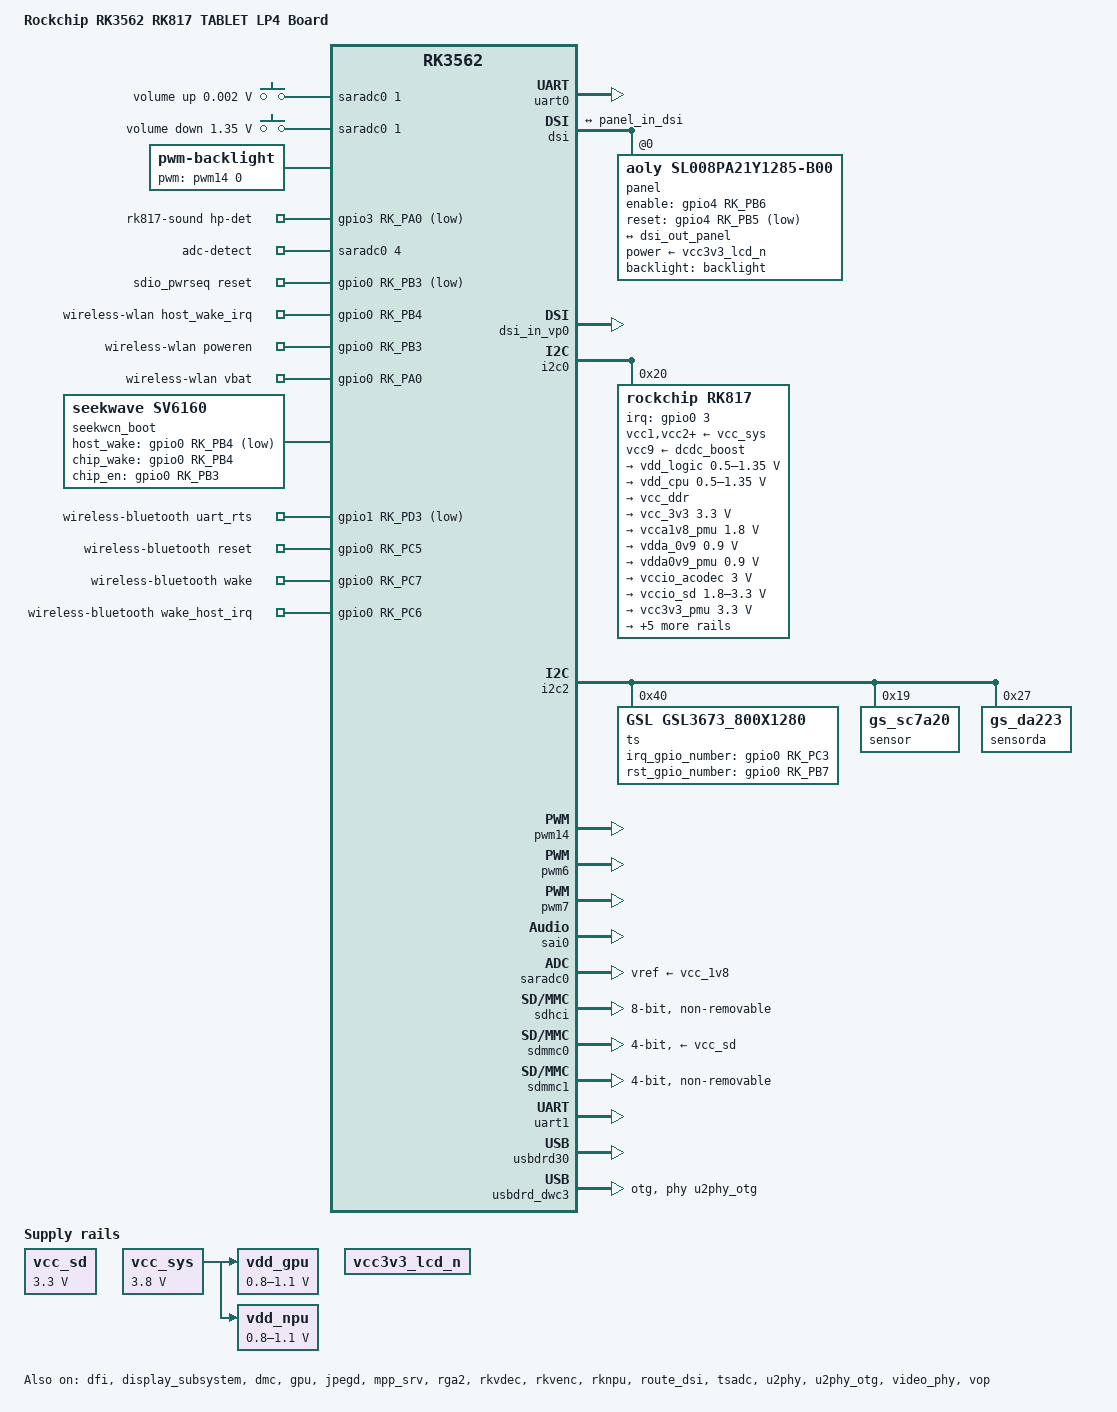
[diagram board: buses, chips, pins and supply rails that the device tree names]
// SPDX-License-Identifier: (GPL-2.0+ OR MIT)
/*
 * Copyright (c) 2022 Rockchip Electronics Co., Ltd.
 *
 */

/dts-v1/;

#include <dt-bindings/gpio/gpio.h>
#include <dt-bindings/pinctrl/rockchip.h>
#include <dt-bindings/input/rk-input.h>
#include <dt-bindings/sensor-dev.h>
#include <dt-bindings/display/drm_mipi_dsi.h>
#include "dt-bindings/usb/pd.h"
#include "rk3562.dtsi"
#include "rk3562-android.dtsi"
#include "rk3562-rk817-tablet-camera.dtsi"

/ {
	model = "Rockchip RK3562 RK817 TABLET LP4 Board";
	compatible = "rockchip,rk3562-rk817-tablet", "rockchip,rk3562";
	chassis-type = "tablet";

	adc_keys: adc-keys {
		compatible = "adc-keys";
		io-channels = <&saradc0 1>;
		io-channel-names = "buttons";
		keyup-threshold-microvolt = <1800000>;
		poll-interval = <100>;

		vol-up-key {
			label = "volume up";
			linux,code = <KEY_VOLUMEUP>;
			press-threshold-microvolt = <1750>;
		};

		vol-down-key {
			label = "volume down";
			linux,code = <KEY_VOLUMEDOWN>;
			/* Match Android DTB: this board's VOL- ladder sits near ~1.35V. */
			press-threshold-microvolt = <1350000>;
		};
	};

	backlight: backlight {
		compatible = "pwm-backlight";
		pwms = <&pwm14 0 25000 0>;
		brightness-levels = <
			  0  20  20  21  21  22  22  23
			 23  24  24  25  25  26  26  27
			 27  28  28  29  29  30  30  31
			 31  32  32  33  33  34  34  35
			 35  36  36  37  37  38  38  39
			 40  41  42  43  44  45  46  47
			 48  49  50  50  51  52  53  54
			 55  55  56  57  58  59  60  61
			 62  63  64  64  65  65  66  67
			 68  69  70  71  71  72  73  74
			 75  76  77  78  79  79  80  81
			 82  83  84  85  86  86  87  88
			 89  90  91  92  93  94  94  95
			 96  97  98  99 100 101 101 102
			103 104 105 106 107 107 108 109
			110 111 112 113 114 115 115 116
			117 118 119 120 121 122 123 123
			124 125 126 127 128 129 130 130
			131 132 133 134 135 136 136 137
			138 139 140 141 142 143 143 144
			145 146 147 147 148 149 150 151
			152 153 154 155 156 156 157 158
			159 157 158 159 160 161 162 162
			163 164 165 166 167 168 169 169
			170 171 172 173 174 175 175 176
			177 178 179 180 181 182 182 183
			184 185 186 187 188 189 190 190
			191 192 193 194 195 196 197 197
			198 199 200 201 202 203 204 204
			205 206 207 208 209 209 210 211
			212 213 213 214 214 215 215 216
			216 217 217 218 218 219 219 220
		>;
		default-brightness-level = <120>;
	};

	charge-animation {
		compatible = "rockchip,uboot-charge";
		rockchip,uboot-charge-on = <1>;
		rockchip,android-charge-on = <0>;
		rockchip,uboot-low-power-voltage = <3350>;
		rockchip,screen-on-voltage = <3400>;
		status = "okay";
	};

	rk817-sound {
		compatible = "rockchip,multicodecs-card";
		rockchip,card-name = "rockchip-rk817";
		hp-det-gpio = <&gpio3 RK_PA0 GPIO_ACTIVE_LOW>;
		io-channels = <&saradc0 4>;
		io-channel-names = "adc-detect";
		keyup-threshold-microvolt = <1800000>;
		poll-interval = <100>;
		rockchip,format = "i2s";
		rockchip,mclk-fs = <256>;
		rockchip,cpu = <&sai0>;
		rockchip,codec = <&rk817_codec>;
		pinctrl-names = "default";
		pinctrl-0 = <&hp_det>;
		play-pause-key {
			label = "playpause";
			linux,code = <KEY_PLAYPAUSE>;
			press-threshold-microvolt = <2000>;
		};
	};

	sdio_pwrseq: sdio-pwrseq {
		compatible = "mmc-pwrseq-simple";
		clocks = <&rk817 1>;
		clock-names = "ext_clock";
		pinctrl-names = "default";
		pinctrl-0 = <&wifi_enable_h>;

		/*
		 * On the module itself this is one of these (depending
		 * on the actual card populated):
		 * - SDIO_RESET_L_WL_REG_ON
		 * - PDN (power down when low)
		 */
		post-power-on-delay-ms = <200>;
		reset-gpios = <&gpio0 RK_PB3 GPIO_ACTIVE_LOW>;
	};

	vcc_sd: vcc-sd {
		compatible = "regulator-gpio";
		enable-active-low;
		regulator-boot-on;
		gpios = <&gpio0 RK_PA5 GPIO_ACTIVE_LOW>;
		regulator-min-microvolt = <3300000>;
		regulator-max-microvolt = <3300000>;
		pinctrl-names = "default";
		pinctrl-0 = <&vcc_sd_h>;
		regulator-name = "vcc_sd";
		states = <0 0x0
			  3300000 0x1>;
	};

	vcc_sys: vcc-sys {
		compatible = "regulator-fixed";
		regulator-name = "vcc_sys";
		regulator-always-on;
		regulator-boot-on;
		regulator-min-microvolt = <3800000>;
		regulator-max-microvolt = <3800000>;
	};

	vcc3v3_lcd_n: vcc3v3-lcd0-n {
		compatible = "regulator-fixed";
		regulator-name = "vcc3v3_lcd_n";
		regulator-always-on;
		regulator-boot-on;
		regulator-state-mem {
			regulator-off-in-suspend;
		};
	};

	vdd_gpu: vdd-gpu {
		compatible = "pwm-regulator";
		pwms = <&pwm7 0 5000 1>;
		regulator-name = "vdd_gpu";
		regulator-min-microvolt = <800000>;
		regulator-max-microvolt = <1100000>;
		regulator-init-microvolt = <900000>;
		/* removed regulator-always-on: Mali driver enables on demand */
		regulator-boot-on;
		regulator-settling-time-up-us = <250>;
		pwm-supply = <&vcc_sys>;
		status = "okay";
	};

	vdd_npu: vdd-npu {
		compatible = "pwm-regulator";
		pwms = <&pwm6 0 5000 1>;
		regulator-name = "vdd_npu";
		regulator-min-microvolt = <800000>;
		regulator-max-microvolt = <1100000>;
		regulator-init-microvolt = <900000>;
		/* removed regulator-always-on + regulator-boot-on: NPU unused in Debian */
		regulator-settling-time-up-us = <250>;
		pwm-supply = <&vcc_sys>;
		status = "okay";
	};

	wireless-wlan {
		compatible = "wlan-platdata";
		rockchip,grf = <&sys_grf>;
		wifi_chip_type = "sv6160";
		pinctrl-names = "default";
		pinctrl-0 = <&wifi_host_wake_irq>;
		WIFI,host_wake_irq = <&gpio0 RK_PB4 GPIO_ACTIVE_HIGH>;
		WIFI,poweren_gpio = <&gpio0 RK_PB3 GPIO_ACTIVE_HIGH>;
		WIFI,vbat_gpio = <&gpio0 RK_PA0 GPIO_ACTIVE_HIGH>;
		status = "okay";
	};

	seekwcn_boot: seekwcn_boot {
		compatible = "seekwave,sv6160";
		dma_type = <1>;
		status = "okay";
		gpio_host_wake = <&gpio0 RK_PB4 GPIO_ACTIVE_LOW>;
		gpio_chip_wake = <&gpio0 RK_PB4 GPIO_ACTIVE_HIGH>;
		gpio_chip_en = <&gpio0 RK_PB3 GPIO_ACTIVE_HIGH>;
	};

	wireless-bluetooth {
		compatible = "bluetooth-platdata";
		clocks = <&rk817 1>;
		clock-names = "ext_clock";
		//wifi-bt-power-toggle;
		uart_rts_gpios = <&gpio1 RK_PD3 GPIO_ACTIVE_LOW>;
		pinctrl-names = "default", "rts_gpio";
		pinctrl-0 = <&uart1m0_rtsn>;
		pinctrl-1 = <&uart1_gpios>;
		BT,reset_gpio    = <&gpio0 RK_PC5 GPIO_ACTIVE_HIGH>;
		BT,wake_gpio     = <&gpio0 RK_PC7 GPIO_ACTIVE_HIGH>;
		BT,wake_host_irq = <&gpio0 RK_PC6 GPIO_ACTIVE_HIGH>;
		status = "okay";
	};
};

&uart0 {
	status = "okay";
	pinctrl-names = "default";
	pinctrl-0 = <&uart0m0_xfer>;
};

&cpu0 {
	cpu-supply = <&vdd_cpu>;
};

&dfi {
	status = "okay";
};

&display_subsystem {
	status = "okay";
};

&dmc {
	center-supply = <&vdd_logic>;
	status = "okay";
};

&dsi {
	status = "okay";

	ports {
		#address-cells = <1>;
		#size-cells = <0>;

		port@1 {
			reg = <1>;
			dsi_out_panel: endpoint {
				remote-endpoint = <&panel_in_dsi>;
			};
		};
	};

	panel@0 {
		compatible = "aoly,sl008pa21y1285-b00", "simple-panel-dsi";
		reg = <0>;

		backlight = <&backlight>;
		enable-gpios = <&gpio4 RK_PB6 GPIO_ACTIVE_HIGH>;
		reset-gpios = <&gpio4 RK_PB5 GPIO_ACTIVE_LOW>;
		pinctrl-names = "default";
		pinctrl-0 = <&lcd_enable_gpio &lcd_rst_gpio>;
		power-supply = <&vcc3v3_lcd_n>;

		prepare-delay-ms = <20>;
		reset-delay-ms = <20>;
		init-delay-ms = <20>;
		enable-delay-ms = <120>;
		disable-delay-ms = <20>;
		unprepare-delay-ms = <20>;

		compatible-lcd = <1>;
		lcd1-id = <0x6593>;

		width-mm = <135>;
		height-mm = <216>;
		/*
		 * Keep early boot/KMS in landscape for this tablet panel orientation
		 * (matching the camera-top side used by userspace).
		 */
		rotation = <90>;

		bpc = <8>;
		bus-format = <0x100a>; /* MEDIA_BUS_FMT_RGB888_1X24 — avoids vop3_output_rb_swap which incorrectly applies DSP_RB_SWAP on RK3562 (VOP2 not VOP3) */

		/* MIPI_DSI_MODE_EOT_PACKET is not defined in 6.1 dt-bindings;
		 * EOT is the default behavior when NO_EOT is not set. */
		dsi,flags = <(MIPI_DSI_MODE_VIDEO | MIPI_DSI_MODE_VIDEO_BURST |
			      MIPI_DSI_CLOCK_NON_CONTINUOUS |
			      MIPI_DSI_MODE_LPM)>;
		dsi,format = <MIPI_DSI_FMT_RGB888>;
		dsi,lanes = <4>;

					panel-init-sequence = [15 00 02 e0 00 15 00 02 e1 93 15 00 02 e2 65 15 00 02 e3 f8 15 00 02 80 03 15 00 02 e0 01 15 00 02 00 00 15 00 02 01 3b 15 00 02 0c 74 15 00 02 17 00 15 00 02 18 af 15 00 02 19 00 15 00 02 1a 00 15 00 02 1b af 15 00 02 1c 00 15 00 02 35 26 15 00 02 37 09 15 00 02 38 04 15 00 02 39 00 15 00 02 3a 01 15 00 02 3c 78 15 00 02 3d ff 15 00 02 3e ff 15 00 02 3f 7f 15 00 02 40 06 15 00 02 41 a0 15 00 02 42 81 15 00 02 43 14 15 00 02 44 23 15 00 02 45 28 15 00 02 55 02 15 00 02 57 69 15 00 02 59 0a 15 00 02 5a 2a 15 00 02 5b 17 15 00 02 5d 7f 15 00 02 5e 6b 15 00 02 5f 5c 15 00 02 60 4f 15 00 02 61 4d 15 00 02 62 3f 15 00 02 63 42 15 00 02 64 2b 15 00 02 65 44 15 00 02 66 43 15 00 02 67 43 15 00 02 68 63 15 00 02 69 52 15 00 02 6a 5a 15 00 02 6b 4f 15 00 02 6c 4e 15 00 02 6d 20 15 00 02 6e 0f 15 00 02 6f 00 15 00 02 70 7f 15 00 02 71 6b 15 00 02 72 5c 15 00 02 73 4f 15 00 02 74 4d 15 00 02 75 3f 15 00 02 76 42 15 00 02 77 2b 15 00 02 78 44 15 00 02 79 43 15 00 02 7a 43 15 00 02 7b 63 15 00 02 7c 52 15 00 02 7d 5a 15 00 02 7e 4f 15 00 02 7f 4e 15 00 02 80 20 15 00 02 81 0f 15 00 02 82 00 15 00 02 e0 02 15 00 02 00 02 15 00 02 01 02 15 00 02 02 00 15 00 02 03 00 15 00 02 04 1e 15 00 02 05 1e 15 00 02 06 1f 15 00 02 07 1f 15 00 02 08 1f 15 00 02 09 17 15 00 02 0a 17 15 00 02 0b 37 15 00 02 0c 37 15 00 02 0d 47 15 00 02 0e 47 15 00 02 0f 45 15 00 02 10 45 15 00 02 11 4b 15 00 02 12 4b 15 00 02 13 49 15 00 02 14 49 15 00 02 15 1f 15 00 02 16 01 15 00 02 17 01 15 00 02 18 00 15 00 02 19 00 15 00 02 1a 1e 15 00 02 1b 1e 15 00 02 1c 1f 15 00 02 1d 1f 15 00 02 1e 1f 15 00 02 1f 17 15 00 02 20 17 15 00 02 21 37 15 00 02 22 37 15 00 02 23 46 15 00 02 24 46 15 00 02 25 44 15 00 02 26 44 15 00 02 27 4a 15 00 02 28 4a 15 00 02 29 48 15 00 02 2a 48 15 00 02 2b 1f 15 00 02 2c 01 15 00 02 2d 01 15 00 02 2e 00 15 00 02 2f 00 15 00 02 30 1f 15 00 02 31 1f 15 00 02 32 1e 15 00 02 33 1e 15 00 02 34 1f 15 00 02 35 17 15 00 02 36 17 15 00 02 37 37 15 00 02 38 37 15 00 02 39 08 15 00 02 3a 08 15 00 02 3b 0a 15 00 02 3c 0a 15 00 02 3d 04 15 00 02 3e 04 15 00 02 3f 06 15 00 02 40 06 15 00 02 41 1f 15 00 02 42 02 15 00 02 43 02 15 00 02 44 00 15 00 02 45 00 15 00 02 46 1f 15 00 02 47 1f 15 00 02 48 1e 15 00 02 49 1e 15 00 02 4a 1f 15 00 02 4b 17 15 00 02 4c 17 15 00 02 4d 37 15 00 02 4e 37 15 00 02 4f 09 15 00 02 50 09 15 00 02 51 0b 15 00 02 52 0b 15 00 02 53 05 15 00 02 54 05 15 00 02 55 07 15 00 02 56 07 15 00 02 57 1f 15 00 02 58 40 15 00 02 5b 30 15 00 02 5c 16 15 00 02 5d 34 15 00 02 5e 05 15 00 02 5f 02 15 00 02 63 00 15 00 02 64 6a 15 00 02 67 73 15 00 02 68 1d 15 00 02 69 08 15 00 02 6a 6a 15 00 02 6b 08 15 00 02 6c 00 15 00 02 6d 00 15 00 02 6e 00 15 00 02 6f 88 15 00 02 75 ff 15 00 02 77 dd 15 00 02 78 3f 15 00 02 79 15 15 00 02 7a 17 15 00 02 7d 14 15 00 02 7e 82 15 00 02 e0 04 15 00 02 00 0e 15 00 02 02 b3 15 00 02 09 61 15 00 02 0e 48 15 00 02 e0 00 15 00 02 e6 02 15 00 02 e7 0c 05 78 01 11 05 64 01 29];

		panel-exit-sequence = [
			05 01 01 28
			05 03 01 10
		];

		display-timings {
			native-mode = <&timing0>;

			timing0: timing0 {
				clock-frequency = <70000000>;
				hactive = <800>;
				vactive = <1280>;

				hfront-porch = <40>;
				hsync-len = <20>;
				hback-porch = <20>;

				vfront-porch = <20>;
				vsync-len = <4>;
				vback-porch = <20>;

				hsync-active = <0>;
				vsync-active = <0>;
				de-active = <0>;
				pixelclk-active = <1>;
			};
		};

		ports {
			#address-cells = <1>;
			#size-cells = <0>;

			port@0 {
				reg = <0>;
				panel_in_dsi: endpoint {
					remote-endpoint = <&dsi_out_panel>;
				};
			};
		};
	};

};

&dsi_in_vp0 {
	status = "okay";
};

&gpu {
	mali-supply = <&vdd_gpu>;
	/*
	 * Panfrost expects IRQ names "job", "mmu", "gpu".  On this board the
	 * physical IRQ lines are wired as:
	 *   GPU(reset/completion)=SPI75, MMU=SPI77, JOB=SPI76
	 * so for Panfrost we must map:
	 *   job->SPI76, mmu->SPI77, gpu->SPI75
	 */
	interrupts = <GIC_SPI 76 IRQ_TYPE_LEVEL_HIGH>,
		     <GIC_SPI 77 IRQ_TYPE_LEVEL_HIGH>,
		     <GIC_SPI 75 IRQ_TYPE_LEVEL_HIGH>;
	/* Panfrost looks up IRQs by lowercase names ("job", "mmu", "gpu"). */
	interrupt-names = "job", "mmu", "gpu";
	/*
	 * The stock rk3562.dtsi GPU OPP table relies on nvmem-backed supported-hw
	 * selection. On this tablet that resolves to zero valid OPPs, so Panfrost
	 * aborts probe with "no supported OPPs". Use a simple board-local table
	 * instead so devfreq has valid operating points.
	 */
	operating-points-v2 = <&gpu_opp_table_panfrost>;
	status = "okay";
};

/ {
	gpu_opp_table_panfrost: gpu-opp-table-panfrost {
		compatible = "operating-points-v2";

		opp-300000000 {
			opp-hz = /bits/ 64 <300000000>;
			opp-microvolt = <825000>;
		};
		opp-400000000 {
			opp-hz = /bits/ 64 <400000000>;
			opp-microvolt = <825000>;
		};
		opp-500000000 {
			opp-hz = /bits/ 64 <500000000>;
			opp-microvolt = <825000>;
		};
		opp-600000000 {
			opp-hz = /bits/ 64 <600000000>;
			opp-microvolt = <825000>;
		};
		opp-700000000 {
			opp-hz = /bits/ 64 <700000000>;
			opp-microvolt = <900000>;
		};
	};
};

&i2c0 {
	status = "okay";

	rk817: pmic@20 {
		compatible = "rockchip,rk817";
		reg = <0x20>;
		interrupt-parent = <&gpio0>;
		interrupts = <3 IRQ_TYPE_LEVEL_LOW>;

		pinctrl-names = "default", "pmic-sleep",
			"pmic-power-off", "pmic-reset";
		pinctrl-0 = <&pmic_int>;
		pinctrl-1 = <&soc_slppin_slp>, <&rk817_slppin_slp>;
		pinctrl-2 = <&soc_slppin_gpio>, <&rk817_slppin_pwrdn>;
		pinctrl-3 = <&soc_slppin_gpio>, <&rk817_slppin_rst>;
		rockchip,system-power-controller;
		wakeup-source;
		#clock-cells = <1>;
		clock-output-names = "rk808-clkout1", "rk808-clkout2";
		/* 0: default, rst the pmic itself; 1: rst regs only */
		pmic-reset-func = <0>;
		vcc1-supply = <&vcc_sys>;
		vcc2-supply = <&vcc_sys>;
		vcc3-supply = <&vcc_sys>;
		vcc4-supply = <&vcc_sys>;
		vcc5-supply = <&vcc_sys>;
		vcc6-supply = <&vcc_sys>;
		vcc7-supply = <&vcc_sys>;
		vcc8-supply = <&vcc_sys>;
		vcc9-supply = <&dcdc_boost>;
		pwrkey {
			status = "okay";
		};

		pinctrl_rk8xx: pinctrl_rk8xx {
			gpio-controller;
			#gpio-cells = <2>;

			rk817_slppin_null: rk817_slppin_null {
				pins = "gpio_slp";
				function = "pin_fun0";
			};

			rk817_slppin_slp: rk817_slppin_slp {
				pins = "gpio_slp";
				function = "pin_fun1";
			};

			rk817_slppin_pwrdn: rk817_slppin_pwrdn {
				pins = "gpio_slp";
				function = "pin_fun2";
			};

			rk817_slppin_rst: rk817_slppin_rst {
				pins = "gpio_slp";
				function = "pin_fun3";
			};
		};

		regulators {
			vdd_logic: DCDC_REG1 {
				regulator-always-on;
				regulator-boot-on;
				regulator-min-microvolt = <500000>;
				regulator-max-microvolt = <1350000>;
				regulator-init-microvolt = <950000>;
				regulator-ramp-delay = <6001>;
				regulator-initial-mode = <0x2>;
				regulator-name = "vdd_logic";
				regulator-state-mem {
					regulator-off-in-suspend;
					regulator-suspend-microvolt = <900000>;
				};
			};

			vdd_cpu: DCDC_REG2 {
				regulator-always-on;
				regulator-boot-on;
				regulator-min-microvolt = <500000>;
				regulator-max-microvolt = <1350000>;
				regulator-init-microvolt = <1050000>;
				regulator-ramp-delay = <6001>;
				regulator-initial-mode = <0x2>;
				regulator-name = "vdd_cpu";
				regulator-state-mem {
					regulator-off-in-suspend;
				};
			};

			vcc_ddr: DCDC_REG3 {
				regulator-always-on;
				regulator-boot-on;
				regulator-initial-mode = <0x2>;
				regulator-name = "vcc_ddr";
				regulator-state-mem {
					regulator-on-in-suspend;
				};
			};

			vcc_3v3: DCDC_REG4 {
				regulator-always-on;
				regulator-boot-on;
				regulator-min-microvolt = <3300000>;
				regulator-max-microvolt = <3300000>;
				regulator-initial-mode = <0x2>;
				regulator-name = "vcc_3v3";
				regulator-state-mem {
					regulator-on-in-suspend;
					regulator-suspend-microvolt = <3300000>;
				};
			};

			vcca1v8_pmu: LDO_REG1 {
				regulator-always-on;
				regulator-boot-on;
				regulator-min-microvolt = <1800000>;
				regulator-max-microvolt = <1800000>;
				regulator-name = "vcca1v8_pmu";
				regulator-state-mem {
					regulator-on-in-suspend;
					regulator-suspend-microvolt = <1800000>;
				};
			};

			vdda_0v9: LDO_REG2 {
				regulator-always-on;
				regulator-boot-on;
				regulator-min-microvolt = <900000>;
				regulator-max-microvolt = <900000>;
				regulator-name = "vdda_0v9";
				regulator-state-mem {
					regulator-off-in-suspend;
				};
			};

			vdda0v9_pmu: LDO_REG3 {
				regulator-always-on;
				regulator-boot-on;
				regulator-min-microvolt = <900000>;
				regulator-max-microvolt = <900000>;
				regulator-name = "vdda0v9_pmu";
				regulator-state-mem {
					regulator-on-in-suspend;
					regulator-suspend-microvolt = <900000>;
				};
			};

			vccio_acodec: LDO_REG4 {
				regulator-always-on;
				regulator-boot-on;
				regulator-min-microvolt = <3000000>;
				regulator-max-microvolt = <3000000>;
				regulator-name = "vccio_acodec";
				regulator-state-mem {
					regulator-off-in-suspend;
				};
			};

			vccio_sd: LDO_REG5 {
				regulator-always-on;
				regulator-boot-on;
				regulator-min-microvolt = <1800000>;
				regulator-max-microvolt = <3300000>;
				regulator-name = "vccio_sd";
				regulator-state-mem {
					regulator-off-in-suspend;
				};
			};

			vcc3v3_pmu: LDO_REG6 {
				regulator-always-on;
				regulator-boot-on;
				regulator-min-microvolt = <3300000>;
				regulator-max-microvolt = <3300000>;
				regulator-name = "vcc3v3_pmu";
				regulator-state-mem {
					regulator-on-in-suspend;
					regulator-suspend-microvolt = <3000000>;
				};
			};

			vcc_1v8: LDO_REG7 {
				regulator-always-on;
				regulator-boot-on;
				regulator-min-microvolt = <1800000>;
				regulator-max-microvolt = <1800000>;
				regulator-name = "vcc_1v8";
				regulator-state-mem {
					regulator-off-in-suspend;
				};
			};

			vcc1v8_dvp: LDO_REG8 {
				regulator-always-on;
				regulator-boot-on;
				regulator-min-microvolt = <1800000>;
				regulator-max-microvolt = <1800000>;
				regulator-name = "vcc1v8_dvp";
				regulator-state-mem {
					regulator-off-in-suspend;
				};
			};

			vcc1v2_dvp: LDO_REG9 {
				regulator-always-on;
				regulator-boot-on;
				regulator-min-microvolt = <1200000>;
				regulator-max-microvolt = <1200000>;
				regulator-name = "vcc1v2_dvp";
				regulator-state-mem {
					regulator-off-in-suspend;
				};
			};

			dcdc_boost: BOOST {
				regulator-always-on;
				regulator-boot-on;
				regulator-min-microvolt = <5000000>;
				regulator-max-microvolt = <5400000>;
				regulator-name = "boost";
				regulator-state-mem {
					regulator-off-in-suspend;
				};
			};

			otg_switch: OTG_SWITCH {
				regulator-name = "otg_switch";
				regulator-state-mem {
					regulator-off-in-suspend;
				};
			};
		};

		battery {
			compatible = "rk817,battery";
			ocv_table = <3400 3656 3689 3717 3742 3760 3773
				     3785 3800 3817 3838 3872 3917 3956
				     3987 4041 4086 4135 4187 4242 4308>;
			ntc_degree_from = <1 21>;
			design_capacity = <4510>;
			design_qmax = <4900>;
			bat_res = <120>;
			sleep_enter_current = <150>;
			sleep_exit_current = <180>;
			sleep_filter_current = <100>;
			power_off_thresd = <3450>;
			zero_algorithm_vol = <3400>;
			max_soc_offset = <60>;
			monitor_sec = <5>;
			sample_res = <10>;
			virtual_power = <0>;
		};

		charger {
			compatible = "rk817,charger";
			status = "okay";
			min_input_voltage = <4500>;
			max_input_current = <1750>;
			max_chrg_current = <2000>;
			max_chrg_voltage = <4350>;
			chrg_term_mode = <0>;
			chrg_finish_cur = <100>;
			virtual_power = <0>;
			dc_det_adc = <0>;
			power_dc2otg = <0>;
			sample_res = <10>;
			otg5v_suspend_enable = <0>;
			extcon = <&u2phy>;
			gate_function_disable = <1>;
		};

		rk817_codec: codec {
			#sound-dai-cells = <0>;
			compatible = "rockchip,rk817-codec";
			clocks = <&mclkout_sai0>;
			clock-names = "mclk";
			assigned-clocks = <&mclkout_sai0>;
			assigned-clock-rates = <12288000>;
			pinctrl-names = "default";
			pinctrl-0 = <&i2s0m0_mclk>;
			hp-volume = <20>;
			spk-volume = <25>;
			use-ext-amplifier;
			spk-ctl-gpios = <&gpio4 RK_PB7 GPIO_ACTIVE_HIGH>;
			status = "okay";
		};
	};
};

&i2c2 {
	status = "okay";

	ts@40 {
		compatible = "GSL,GSL3673_800X1280";
		reg = <0x40>;
		irq_gpio_number = <&gpio0 RK_PC3 GPIO_ACTIVE_HIGH>;
		rst_gpio_number = <&gpio0 RK_PB7 GPIO_ACTIVE_HIGH>;
		pinctrl-names = "default";
		pinctrl-0 = <&tp_gpio>;
	};

	sensor@19 {
		compatible = "gs_sc7a20";
		reg = <0x19>;
		type = <SENSOR_TYPE_ACCEL>;
		irq_enable = <0>;
		poll_delay_ms = <10>;
		layout = <7>;
		reprobe_en = <0>;
		is_sc7a20e = <0>;
		swap_xy = <0>;
		revert_x = <0>;
		revert_y = <0>;
		revert_z = <0>;
		status = "okay";
	};

	sensorda@27 {
		compatible = "gs_da223";
		reg = <0x27>;
		type = <SENSOR_TYPE_ACCEL>;
		irq_enable = <0>;
		poll_delay_ms = <10>;
		layout = <5>;
		swap_xy = <0>;
		revert_x = <1>;
		revert_y = <1>;
		revert_z = <0>;
		status = "okay";
	};
};

&jpegd {
	status = "okay";
};

&jpegd_mmu {
	status = "okay";
};

&mpp_srv {
	status = "okay";
};

&pinctrl {
	tp {
		tp_gpio: tp-gpio {
			rockchip,pins = <0 RK_PC3 RK_FUNC_GPIO &pcfg_pull_down>,
					<0 RK_PB7 RK_FUNC_GPIO &pcfg_pull_none>;
		};
	};

	headphone {
		hp_det: hp-det {
			rockchip,pins = <3 RK_PA0 RK_FUNC_GPIO &pcfg_pull_down>;
		};
	};

	lcd {
		lcd_rst_gpio: lcd-rst-gpio {
			rockchip,pins = <4 RK_PB5 RK_FUNC_GPIO &pcfg_pull_none>;
		};

		lcd_enable_gpio: lcd-enable-gpio {
			rockchip,pins = <4 RK_PB6 RK_FUNC_GPIO &pcfg_pull_none>;
		};
	};

	sdio-pwrseq {
		wifi_enable_h: wifi-enable-h {
			rockchip,pins = <0 RK_PB3 RK_FUNC_GPIO &pcfg_pull_none>;
		};
	};

	vcc_sd {
		vcc_sd_h: vcc-sd-h {
			rockchip,pins = <0 RK_PA5 RK_FUNC_GPIO &pcfg_pull_none>;
		};
	};

	wireless-wlan {
		wifi_host_wake_irq: wifi-host-wake-irq {
			rockchip,pins = <0 RK_PB4 RK_FUNC_GPIO &pcfg_pull_down>;
		};
	};

	wireless-bluetooth {
		uart1_gpios: uart1-gpios {
			rockchip,pins = <1 RK_PD3 RK_FUNC_GPIO &pcfg_pull_none>;
		};
	};
};

&pwm14 {
	status = "okay";
	pinctrl-names = "active";
	pinctrl-0 = <&pwm14m0_pins>;
};

&pwm6 {
	status = "okay";
};

&pwm7 {
	status = "okay";
};

&rga2 {
	status = "okay";
};

&rga2_mmu {
	status = "okay";
};

&rkvdec {
	status = "okay";
};

&rkvdec_mmu {
	status = "okay";
};

&rkvenc {
	status = "okay";
};

&rkvenc_mmu {
	status = "okay";
};

&rknpu {
	rknpu-supply = <&vdd_npu>;
	status = "okay";
};

&rknpu_mmu {
	status = "okay";
};

&route_dsi {
	status = "okay";
};

&sai0 {
	status = "okay";
	pinctrl-names = "default";
	pinctrl-0 = <&i2s0m0_lrck
		     &i2s0m0_sclk
		     &i2s0m0_sdi0
		     &i2s0m0_sdo0>;
};

&saradc0 {
	status = "okay";
	vref-supply = <&vcc_1v8>;
};

&sdhci {
	bus-width = <8>;
	no-sdio;
	no-sd;
	non-removable;
	max-frequency = <200000000>;
	mmc-hs400-1_8v;
	mmc-hs400-enhanced-strobe;
	status = "okay";
};

&sdmmc0 {
	max-frequency = <200000000>;
	no-sdio;
	no-mmc;
	bus-width = <4>;
	cap-mmc-highspeed;
	cap-sd-highspeed;
	disable-wp;
	sd-uhs-sdr104;
	vmmc-supply = <&vcc_sd>;
	vqmmc-supply = <&vccio_sd>;
	pinctrl-names = "default";
	pinctrl-0 = <&sdmmc0_bus4 &sdmmc0_clk &sdmmc0_cmd &sdmmc0_det>;
	status = "okay";
};

&sdmmc1 {
	max-frequency = <200000000>;
	no-sd;
	no-mmc;
	bus-width = <4>;
	disable-wp;
	cap-sd-highspeed;
	cap-sdio-irq;
	keep-power-in-suspend;
	mmc-pwrseq = <&sdio_pwrseq>;
	non-removable;
	pinctrl-names = "default";
	pinctrl-0 = <&sdmmc1_bus4 &sdmmc1_cmd &sdmmc1_clk>;
	sd-uhs-sdr104;
	status = "okay";
};

&tsadc {
	status = "okay";
};

&u2phy {
	status = "okay";
};

&u2phy {
	interrupts = <GIC_SPI 153 IRQ_TYPE_LEVEL_HIGH>;
	status = "okay";
};

&u2phy_otg {
	status = "okay";
	vbus-supply = <&otg_switch>;
};

&uart1 {
	status = "okay";
	pinctrl-names = "default";
	pinctrl-0 = <&uart1m0_xfer &uart1m0_ctsn>;
};

&usbdrd30 {
	status = "okay";
};

&usbdrd_dwc3 {
	dr_mode = "otg";
	status = "okay";
	maximum-speed = "high-speed";
	phys = <&u2phy_otg>;
	phy-names = "usb2-phy";
	snps,dis_u2_susphy_quirk;
	snps,usb2-lpm-disable;
	extcon = <&u2phy>;
};

&video_phy {
	status = "okay";
};

&vop {
	status = "okay";
};

&vop_mmu {
	status = "okay";
};

/*
 * Camera bring-up debug: keep camera rails enabled at boot so
 * sensor I2C probing can be validated independently of runtime PM.
 */
&vcc1v8_dvp {
	regulator-boot-on;
	regulator-always-on;
};

&vcc1v2_dvp {
	regulator-boot-on;
	regulator-always-on;
};
